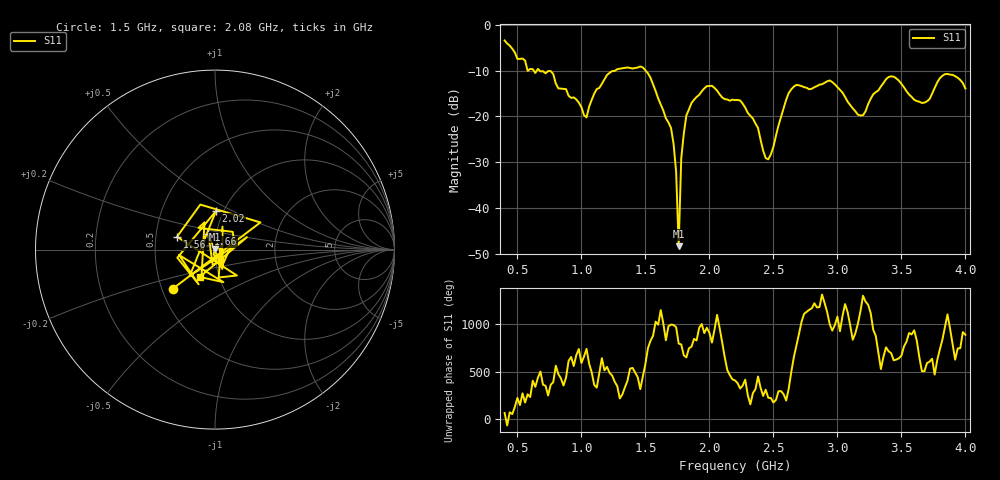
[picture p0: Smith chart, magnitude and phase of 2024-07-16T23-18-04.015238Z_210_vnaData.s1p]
!Created with skrf (http://scikit-rf.org).
# Hz S RI R 50.0
!freq ReS11 ImS11
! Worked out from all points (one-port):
!   181 points, 400 MHz to 4 GHz, reference 50 ohm
!   lowest |S11| = -48.4 dB at 1.76 GHz (marker M1), VSWR 1.01, Z = 50.1 + j0.375 ohm
!   |S11| at or under -10 dB: 579.5 MHz to 582.7 MHz (3.212 MHz wide, 0.553 % of centre); 673.7 MHz to 1.264 GHz (590 MHz wide, 60.9 % of centre); 1.502 GHz to end of sweep (the widest 3 of 4)
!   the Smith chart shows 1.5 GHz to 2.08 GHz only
!   S11 on the Smith chart (normalised r, x): 1.5 GHz: 0.57, -0.28; 1.56 GHz: 0.64, +0.10; 1.66 GHz: 0.91, +0.16; 2.02 GHz: 0.92, +0.42; 2.08 GHz: 0.81, -0.25
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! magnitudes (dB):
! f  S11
! 400 MHz  -3.4
! 580 MHz  -10.1
! 860 MHz  -14.0
! 1.04 GHz  -20.2
! 1.12 GHz  -14.0
! 1.3 GHz  -9.6
! 1.5 GHz  -9.9
! 1.56 GHz  -13.0
! 1.66 GHz  -20.4
! 1.72 GHz  -26.0
! 1.74 GHz  -32.1
! 1.76 GHz  -48.4
! 1.78 GHz  -29.2
! 1.82 GHz  -19.8
! 2.02 GHz  -13.3
! 2.08 GHz  -15.2
! 2.2 GHz  -16.4
! 2.34 GHz  -20.5
! 2.46 GHz  -29.4
! 2.66 GHz  -13.5
! 2.94 GHz  -12.1
! 3.1 GHz  -17.5
! 3.2 GHz  -19.8
! 3.42 GHz  -11.3
! 3.56 GHz  -15.2
! 3.7 GHz  -16.7
! 3.84 GHz  -10.8
! 4 GHz  -13.9
